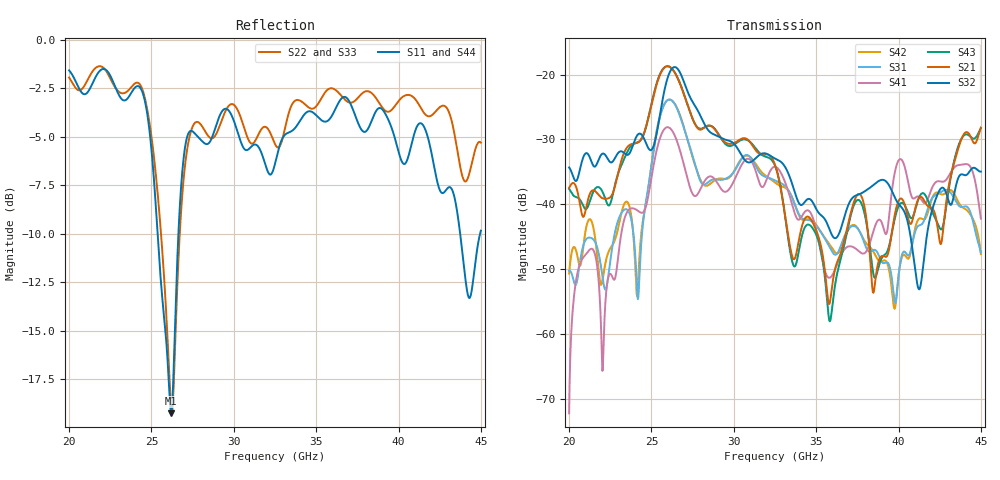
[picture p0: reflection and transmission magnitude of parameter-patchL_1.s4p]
! TOUCHSTONE file generated by CST MICROWAVE STUDIO
! Date and time: Sat Jun  8 23:23:02 2024
! Project name: Final_26GHz_linear.cst
! Parameters = {tand=0.0037; Connector_spacing=15.33; Coplanar_gap=0.425; Distance_inner=4.78238; Distance_outer=14.3471; L=2.6; L_pad=5; Length_strip_inner=24.3248; Length_strip_outer=27.8328; Pad_via_diameter=2.1; Pad_via_x_centre=3.75; Pad_via_z_centre=2.8; Patch_spacing=5.76524; Via_diameter=0.4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
! Header version: 2024
! Port assignment regex: !\s*Touchstone port\s*([0-9]+)\s*=\s*(CST MWS port|CST DES external port|CST DES block port)\s*(.+)\s* \(\"(.*)\"\)(\s*mode\s*([0-9]+))?.*
! Touchstone port assignment:
! Touchstone port 1 = CST MWS port 1 ("")
! Touchstone port 2 = CST MWS port 2 ("")
! Touchstone port 3 = CST MWS port 3 ("")
! Touchstone port 4 = CST MWS port 4 ("")
# GHz S MA R 50
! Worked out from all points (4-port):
!   1001 points, 20 GHz to 45 GHz, reference 50 ohm
!   strongest paths, dB at 20 GHz, 26.25 GHz, 32.5 GHz, 38.75 GHz, 45 GHz:
!     S32: -34.3, -19.1, -32.9, -36.5, -35.0
!     S21: -37.4, -19.1, -33.9, -49.2, -28.2
!     S43: -37.6, -19.1, -34.0, -50.0, -28.2
!     S41: -72.2, -28.6, -34.2, -42.5, -42.2
!     S31: -50.3, -24.0, -36.3, -47.6, -47.5
!     S42: -50.7, -24.0, -36.6, -48.5, -47.7
!   lowest |S11| = -19.2 dB at 26.2 GHz (marker M1), VSWR 1.24, Z = 61 + j5.08 ohm
!   |S11| at or under -10 dB: 25.37 GHz to 26.64 GHz (1.263 GHz wide, 4.86 % of centre); 43.74 GHz to 44.95 GHz (1.206 GHz wide, 2.72 % of centre)
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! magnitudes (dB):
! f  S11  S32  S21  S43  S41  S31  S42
! 20 GHz  -1.6  -34.3  -37.4  -37.6  -72.2  -50.3  -50.7
! 20.68 GHz  -2.6  -34.4  -40.2  -39.3  -49.0  -48.6  -49.4
! 22.05 GHz  -1.5  -32.2  -39.1  -38.2  -65.0  -51.6  -51.3
! 24.2 GHz  -2.4  -29.2  -30.4  -30.4  -41.0  -54.4  -51.5
! 26.2 GHz  -19.2  -19.2  -19.0  -19.0  -28.5  -23.9  -23.9
! 35.83 GHz  -4.1  -44.0  -55.2  -58.0  -51.3  -46.6  -46.2
! 45 GHz  -9.8  -35.0  -28.2  -28.2  -42.2  -47.5  -47.7
